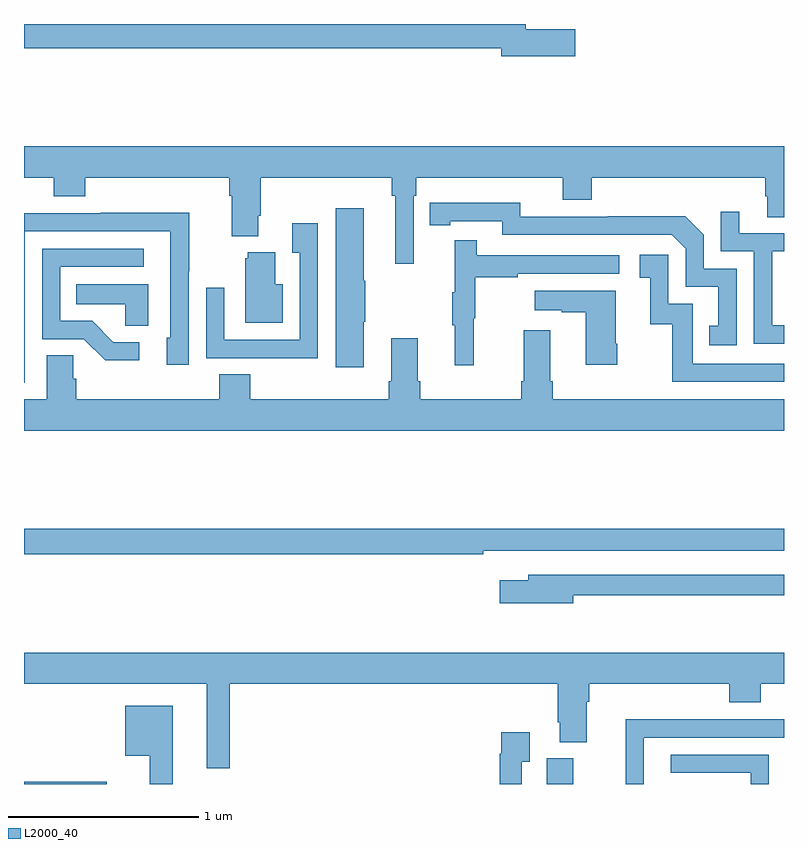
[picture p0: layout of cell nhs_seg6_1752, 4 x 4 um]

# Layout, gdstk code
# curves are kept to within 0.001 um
import gdstk
lib = gdstk.Library(unit=1e-6, precision=1e-09)
def R(c, l, rs):  # rectangles x0, y0, x1, y1
    for r in rs: c.add(gdstk.rectangle(r[:2], r[2:], *l))
def P(c, l, *ps):  # polygons
    for p in ps: c.add(gdstk.Polygon(p, *l))
L2000_40 = (2000, 40)

nhs_seg6_1752 = lib.new_cell('nhs_seg6_1752')
R(nhs_seg6_1752, L2000_40, [(217,921.5,217.436,921.512), (219.752,921.5,219.892,921.636)])
P(nhs_seg6_1752, L2000_40, [(219.901,925.472),(219.64,925.472),(219.64,925.5),(217,925.5),(217,925.372),(219.512,925.372),(219.512,925.33),(219.901,925.33)],
  [(217,924.692),(217.157,924.692),(217.157,924.593),(217.322,924.593),(217.322,924.692),(218.081,924.692),(218.081,924.596),(218.093,924.596),(218.093,924.383),(218.233,924.383),(218.233,924.49),(218.246,924.49),(218.246,924.692),(218.935,924.692),(218.935,924.596),(218.954,924.596),(218.954,924.237),(219.051,924.237),(219.051,924.596),(219.065,924.596),(219.065,924.692),(219.836,924.692),(219.836,924.575),(219.989,924.575),(219.989,924.692),(220.901,924.692),(220.901,924.594),(220.913,924.594),(220.913,924.484),(221,924.484),(221,924.856),(217,924.856)],
  [(220.752,924.213),(220.578,924.213),(220.578,924.39),(220.48,924.488),(220.072,924.488),(220.072,924.486),(219.612,924.486),(219.612,924.559),(219.136,924.558),(219.136,924.442),(219.244,924.442),(219.244,924.462),(219.516,924.462),(219.516,924.39),(220.41,924.39),(220.482,924.318),(220.482,924.117),(220.655,924.117),(220.655,923.913),(220.606,923.913),(220.606,923.808),(220.752,923.808)],
  [(218.788,923.932),(218.796,923.932),(218.796,924.149),(218.788,924.149),(218.788,924.529),(218.642,924.529),(218.642,923.694),(218.788,923.694)],
  [(221,923.914),(220.938,923.914),(220.938,924.303),(221,924.303),(221,924.399),(220.765,924.399),(220.765,924.511),(220.668,924.511),(220.668,924.303),(220.842,924.303),(220.842,923.817),(221,923.817)],
  [(217.005,924.408),(217.77,924.408),(217.77,923.85),(217.751,923.85),(217.751,923.706),(217.866,923.706),(217.866,924.199),(217.869,924.199),(217.869,924.506),(217.405,924.506),(217.405,924.504),(217,924.504),(217,923.613),(217.005,923.613)],
  [(218.547,924.451),(218.411,924.451),(218.411,924.295),(218.451,924.295),(218.451,923.838),(218.055,923.838),(218.055,924.112),(217.959,924.112),(217.959,923.742),(218.275,923.742),(218.275,923.741),(218.547,923.741)],
  [(219.368,923.952),(219.376,923.952),(219.376,924.166),(219.599,924.166),(219.599,924.186),(220.132,924.186),(220.132,924.282),(219.383,924.282),(219.383,924.361),(219.266,924.361),(219.266,924.089),(219.255,924.089),(219.255,923.915),(219.266,923.915),(219.266,923.703),(219.368,923.703)],
  [(217.606,923.826),(217.471,923.826),(217.36,923.937),(217.191,923.937),(217.191,924.222),(217.63,924.222),(217.63,924.318),(217.095,924.318),(217.095,923.841),(217.314,923.841),(217.427,923.729),(217.606,923.729)],
  [(218.362,924.13),(218.323,924.13),(218.323,924.298),(218.177,924.298),(218.177,924.267),(218.165,924.267),(218.165,923.927),(218.362,923.927)],
  [(221,923.712),(220.521,923.712),(220.521,924.027),(220.392,924.027),(220.392,924.286),(220.242,924.286),(220.242,924.165),(220.295,924.165),(220.295,923.919),(220.413,923.919),(220.413,923.616),(221,923.616)],
  [(217.654,924.13),(217.276,924.13),(217.276,924.026),(217.533,924.026),(217.533,923.911),(217.654,923.911)],
  [(220.122,923.818),(220.114,923.818),(220.114,924.097),(219.687,924.097),(219.687,923.993),(219.83,923.993),(219.83,923.983),(219.956,923.983),(219.956,923.706),(220.122,923.706)],
  [(221,923.524),(219.782,923.524),(219.782,923.62),(219.769,923.62),(219.769,923.887),(219.629,923.887),(219.629,923.62),(219.617,923.62),(219.617,923.524),(219.086,923.524),(219.086,923.62),(219.073,923.62),(219.073,923.845),(218.933,923.845),(218.933,923.62),(218.921,923.62),(218.921,923.524),(218.192,923.524),(218.192,923.657),(218.027,923.657),(218.027,923.524),(217.274,923.524),(217.274,923.633),(217.26,923.633),(217.26,923.756),(217.121,923.756),(217.121,923.524),(217,923.524),(217,923.36),(221,923.36)],
  [(219.416,922.728),(221,922.728),(221,922.844),(217,922.844),(217,922.708),(219.416,922.708)],
  [(219.892,922.494),(221,922.494),(221,922.602),(219.653,922.602),(219.653,922.573),(219.504,922.573),(219.504,922.451),(219.892,922.451)],
  [(218.083,922.028),(219.809,922.028),(219.809,921.826),(219.821,921.826),(219.821,921.721),(219.961,921.721),(219.961,921.932),(219.974,921.932),(219.974,922.028),(220.712,922.028),(220.712,921.929),(220.877,921.929),(220.877,922.028),(221,922.028),(221,922.192),(217,922.192),(217,922.028),(217.961,922.028),(217.961,921.584),(218.083,921.584)],
  [(217.783,921.913),(217.532,921.913),(217.532,921.65),(217.662,921.65),(217.662,921.5),(217.783,921.5)],
  [(220.263,921.744),(221,921.744),(221,921.84),(220.628,921.84),(220.628,921.842),(220.166,921.842),(220.166,921.538),(220.167,921.538),(220.167,921.5),(220.263,921.5)],
  [(219.621,921.616),(219.661,921.616),(219.661,921.772),(219.513,921.772),(219.513,921.659),(219.505,921.659),(219.505,921.5),(219.621,921.5)],
  [(220.92,921.654),(220.404,921.654),(220.404,921.558),(220.824,921.558),(220.824,921.5),(220.92,921.5)])

lib.write_gds('nhs_seg6_1752.gds')
